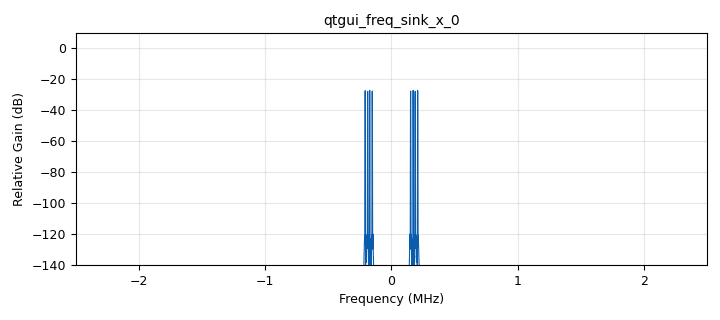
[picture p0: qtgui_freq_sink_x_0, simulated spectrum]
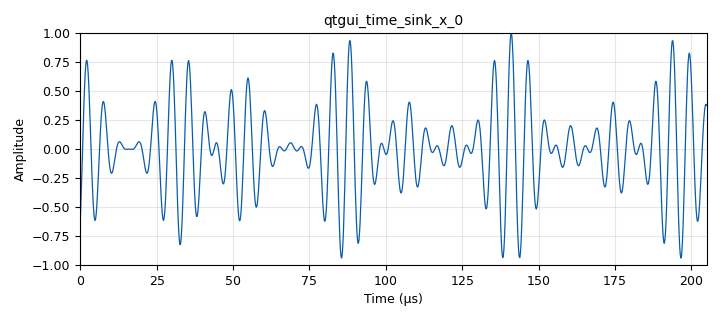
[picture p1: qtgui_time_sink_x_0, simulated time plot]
options:
  parameters:
    author: Kevin Sandoval-Eduardo Caballero
    generate_options: qt_gui
    id: freg
    output_language: python
    title: Practica_1_2
  states: {}

blocks:
- name: samp_rate
  id: variable
  parameters:
    value: '4992000'
  states: {}
- name: analog_sig_source_x_0
  id: analog_sig_source_x
  parameters:
    amp: '1'
    freq: '18000'
    offset: '0'
    phase: '0'
    samp_rate: samp_rate
    type: float
    waveform: analog.GR_COS_WAVE
  states: {}
- name: analog_sig_source_x_1
  id: analog_sig_source_x
  parameters:
    amp: '1'
    freq: '180000'
    offset: '0'
    phase: '0'
    samp_rate: samp_rate
    type: float
    waveform: analog.GR_COS_WAVE
  states: {}
- name: analog_sig_source_x_2
  id: analog_sig_source_x
  parameters:
    amp: '1'
    freq: '10000'
    offset: '0'
    phase: '0'
    samp_rate: samp_rate
    type: float
    waveform: analog.GR_COS_WAVE
  states: {}
- name: blocks_multiply_xx_0
  id: blocks_multiply_xx
  parameters:
    num_inputs: '3'
    type: float
  states: {}
- name: qtgui_freq_sink_x_0
  id: qtgui_freq_sink_x
  parameters:
    bw: samp_rate
    fc: '0'
    fftsize: '8192'
    type: float
    wintype: firdes.WIN_BLACKMAN_hARRIS
  states: {}
- name: qtgui_time_sink_x_0
  id: qtgui_time_sink_x
  parameters:
    size: '1024'
    srate: samp_rate
    type: float
  states: {}

connections:
- [analog_sig_source_x_0, '0', blocks_multiply_xx_0, '0']
- [analog_sig_source_x_1, '0', blocks_multiply_xx_0, '1']
- [analog_sig_source_x_2, '0', blocks_multiply_xx_0, '2']
- [blocks_multiply_xx_0, '0', qtgui_freq_sink_x_0, '0']
- [blocks_multiply_xx_0, '0', qtgui_time_sink_x_0, '0']

metadata:
  file_format: 1
